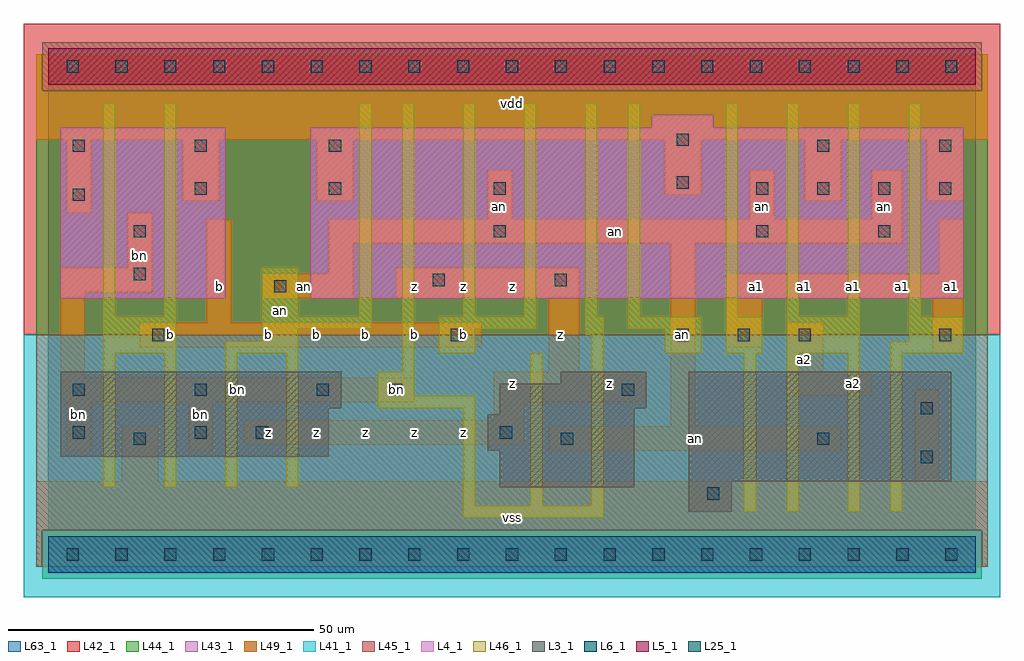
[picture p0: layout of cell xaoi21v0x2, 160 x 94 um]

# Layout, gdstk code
import gdstk
lib = gdstk.Library(unit=1e-6, precision=1e-09)
def R(c, l, rs):  # rectangles x0, y0, x1, y1
    for r in rs: c.add(gdstk.rectangle(r[:2], r[2:], *l))
def A(c, l, x, y, w, h, nx, ny, dx, dy):  # array of equal rectangles
    R(c, l, [(x+i*dx, y+j*dy, x+i*dx+w, y+j*dy+h) for i in range(nx) for j in range(ny)])
L3_1 = (3, 1)
L4_1 = (4, 1)
L5_1 = (5, 1)
L6_1 = (6, 1)
L25_1 = (25, 1)
L41_1 = (41, 1)
L42_1 = (42, 1)
L43_1 = (43, 1)
L44_1 = (44, 1)
L45_1 = (45, 1)
L46_1 = (46, 1)
L49_1 = (49, 1)
L63_1 = (63, 1)

xaoi21v0x2 = lib.new_cell('xaoi21v0x2')
R(xaoi21v0x2, L3_1, [(105,7,112,12), (74,11,96,17), (105,12,148,30), (2,16,46,24), (72,17,96,23), (74,23,96,24), (2,24,48,30), (74,24,98,28), (84,28,98,30)])
R(xaoi21v0x2, L4_1, [(2,42,29,70), (43,42,150,70), (99,70,109,72)])
R(xaoi21v0x2, L5_1, [(0,77,152,83)])
R(xaoi21v0x2, L6_1, [(0,-3,152,3), (0,-3,152,3)])
A(xaoi21v0x2, L25_1, 3, -1, 2, 2, 19, 2, 8, 80)
A(xaoi21v0x2, L25_1, 4, 26, 2, 2, 3, 1, 20, 0)
A(xaoi21v0x2, L25_1, 103, 35, 2, 2, 3, 1, 10, 0)
A(xaoi21v0x2, L25_1, 116, 59, 2, 2, 4, 1, 10, 0)
R(xaoi21v0x2, L25_1, [(108,9,110,11), (143,15,145,17), (14,18,16,20), (84,18,86,20), (126,18,128,20), (4,19,6,21), (24,19,26,21), (34,19,36,21), (74,19,76,21), (143,23,145,25), (56,26,58,28), (94,26,96,28), (17,35,19,37), (66,35,68,37), (146,35,148,37), (37,43,39,45), (63,44,65,46), (83,44,85,46), (14,45,16,47), (14,52,16,54), (73,52,75,54), (116,52,118,54), (136,52,138,54), (4,58,6,60), (24,59,26,61), (46,59,48,61), (73,59,75,61), (103,60,105,62), (4,66,6,68), (24,66,26,68), (46,66,48,68), (126,66,128,68), (146,66,148,68), (103,67,105,69)])
R(xaoi21v0x2, L41_1, [(-4,-7,156,36)])
R(xaoi21v0x2, L42_1, [(-4,36,156,87)])
R(xaoi21v0x2, L43_1, [(0,-3,152,3), (105,7,112,12), (74,11,96,17), (105,12,148,30), (2,16,46,24), (72,17,96,23), (74,23,96,24), (2,24,48,30), (74,24,98,28), (84,28,98,30), (2,42,29,70), (43,42,150,70), (99,70,109,72), (0,77,152,83)])
R(xaoi21v0x2, L44_1, [(-1,-4,153,4), (-2,36,154,76), (-2,76,-1,82), (153,76,154,82)])
R(xaoi21v0x2, L45_1, [(-2,-2,-1,4), (153,-2,154,4), (-2,4,154,36), (-1,76,153,84)])
A(xaoi21v0x2, L46_1, 9, 11, 2, 22, 4, 1, 10, 0)
A(xaoi21v0x2, L46_1, 68, 39, 2, 35, 3, 1, 10, 0)
A(xaoi21v0x2, L46_1, 111, 39, 2, 35, 4, 1, 10, 0)
R(xaoi21v0x2, L46_1, [(68,6,91,8), (114,7,116,33), (121,7,123,33), (131,7,133,33), (138,7,140,33), (68,8,70,24), (79,8,81,33), (89,8,91,36), (54,24,70,26), (54,26,60,30), (58,30,60,74), (9,33,21,39), (29,33,41,35), (64,33,70,37), (101,33,107,37), (111,33,117,39), (121,33,133,39), (138,33,150,35), (35,35,41,37), (141,35,150,39), (88,36,91,39), (35,37,53,39), (64,37,80,39), (95,37,107,39), (9,39,11,74), (19,39,21,74), (35,39,41,47), (51,39,53,74), (95,39,97,74)])
R(xaoi21v0x2, L49_1, [(-2,-2,154,12), (12,12,18,21), (142,12,146,27), (3,17,7,25), (23,17,27,25), (82,17,130,21), (32,18,78,22), (102,21,106,51), (73,22,78,25), (2,25,60,29), (73,25,98,30), (121,26,135,30), (2,29,6,43), (82,30,87,42), (121,30,127,38), (145,33,150,42), (15,34,71,38), (111,34,117,42), (26,38,30,55), (35,42,50,46), (57,42,87,47), (111,42,150,46), (2,43,17,47), (46,46,50,51), (146,46,150,55), (13,47,17,56), (46,51,140,55), (72,55,76,63), (115,55,119,63), (135,55,140,63), (3,56,7,68), (22,58,28,68), (44,58,50,68), (124,58,130,68), (144,58,150,68), (101,59,107,68), (-2,68,154,82)])
R(xaoi21v0x2, L63_1, [(0,0,152,80)])
xaoi21v0x2.add(gdstk.Label('an', (38,40), layer=46, texttype=1))
xaoi21v0x2.add(gdstk.Label('bn', (57,27), layer=49, texttype=1))
xaoi21v0x2.add(gdstk.Label('an', (104,36), layer=49, texttype=1))
xaoi21v0x2.add(gdstk.Label('bn', (25,23), layer=49, texttype=1))
xaoi21v0x2.add(gdstk.Label('bn', (5,23), layer=49, texttype=1))
xaoi21v0x2.add(gdstk.Label('b', (20,36), layer=49, texttype=1))
xaoi21v0x2.add(gdstk.Label('bn', (15,49), layer=49, texttype=1))
xaoi21v0x2.add(gdstk.Label('z', (36,20), layer=49, texttype=1))
xaoi21v0x2.add(gdstk.Label('z', (44,20), layer=49, texttype=1))
xaoi21v0x2.add(gdstk.Label('z', (52,20), layer=49, texttype=1))
xaoi21v0x2.add(gdstk.Label('b', (28,44), layer=49, texttype=1))
xaoi21v0x2.add(gdstk.Label('an', (42,44), layer=49, texttype=1))
xaoi21v0x2.add(gdstk.Label('b', (36,36), layer=49, texttype=1))
xaoi21v0x2.add(gdstk.Label('b', (44,36), layer=49, texttype=1))
xaoi21v0x2.add(gdstk.Label('b', (52,36), layer=49, texttype=1))
xaoi21v0x2.add(gdstk.Label('vss', (76,6), layer=49, texttype=1))
xaoi21v0x2.add(gdstk.Label('z', (60,20), layer=49, texttype=1))
xaoi21v0x2.add(gdstk.Label('bn', (31,27), layer=49, texttype=1))
xaoi21v0x2.add(gdstk.Label('z', (68,20), layer=49, texttype=1))
xaoi21v0x2.add(gdstk.Label('z', (76,28), layer=49, texttype=1))
xaoi21v0x2.add(gdstk.Label('b', (60,36), layer=49, texttype=1))
xaoi21v0x2.add(gdstk.Label('z', (60,44), layer=49, texttype=1))
xaoi21v0x2.add(gdstk.Label('b', (68,36), layer=49, texttype=1))
xaoi21v0x2.add(gdstk.Label('z', (68,44), layer=49, texttype=1))
xaoi21v0x2.add(gdstk.Label('z', (76,44), layer=49, texttype=1))
xaoi21v0x2.add(gdstk.Label('z', (84,36), layer=49, texttype=1))
xaoi21v0x2.add(gdstk.Label('an', (74,57), layer=49, texttype=1))
xaoi21v0x2.add(gdstk.Label('vdd', (76,74), layer=49, texttype=1))
xaoi21v0x2.add(gdstk.Label('z', (92,28), layer=49, texttype=1))
xaoi21v0x2.add(gdstk.Label('a1', (116,44), layer=49, texttype=1))
xaoi21v0x2.add(gdstk.Label('an', (104,36), layer=49, texttype=1))
xaoi21v0x2.add(gdstk.Label('an', (117,57), layer=49, texttype=1))
xaoi21v0x2.add(gdstk.Label('an', (106,19), layer=49, texttype=1))
xaoi21v0x2.add(gdstk.Label('a2', (132,28), layer=49, texttype=1))
xaoi21v0x2.add(gdstk.Label('a2', (124,32), layer=49, texttype=1))
xaoi21v0x2.add(gdstk.Label('a1', (124,44), layer=49, texttype=1))
xaoi21v0x2.add(gdstk.Label('a1', (148,44), layer=49, texttype=1))
xaoi21v0x2.add(gdstk.Label('a1', (132,44), layer=49, texttype=1))
xaoi21v0x2.add(gdstk.Label('a1', (140,44), layer=49, texttype=1))
xaoi21v0x2.add(gdstk.Label('an', (93,53), layer=49, texttype=1))
xaoi21v0x2.add(gdstk.Label('an', (137,57), layer=49, texttype=1))

lib.write_gds('xaoi21v0x2.gds')
